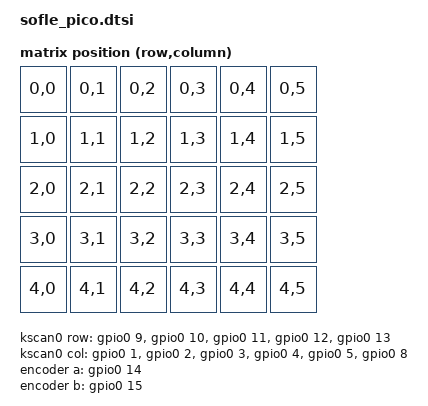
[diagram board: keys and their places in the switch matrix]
#include <dt-bindings/zmk/matrix_transform.h>
#include <zephyr/dt-bindings/gpio/gpio.h>
#include <physical_layouts.dtsi>

/ {
    chosen {
        zmk,kscan = &kscan0;
        zmk,matrix_transform = &default_transform;
        zmk,physical-layout = &physical_layout0;
    };

    default_transform: keymap_transform_0 {
        compatible = "zmk,matrix-transform";
        columns = <6>;
        rows = <5>;
        map = <
            RC(0,0) RC(0,1) RC(0,2) RC(0,3) RC(0,4) RC(0,5)
            RC(1,0) RC(1,1) RC(1,2) RC(1,3) RC(1,4) RC(1,5)
            RC(2,0) RC(2,1) RC(2,2) RC(2,3) RC(2,4) RC(2,5)
            RC(3,0) RC(3,1) RC(3,2) RC(3,3) RC(3,4) RC(3,5)
            RC(4,0) RC(4,1) RC(4,2) RC(4,3) RC(4,4) RC(4,5)
        >;
    };

    physical_layout0: physical_layout_0 {
        compatible = "zmk,physical-layout";
        display-name = "Default";
        transform = <&default_transform>;
        kscan = <&kscan0>;
    };

    kscan0: kscan {
        compatible = "zmk,kscan-gpio-matrix";
        diode-direction = "col2row";

        col-gpios
            = <&gpio0 1 GPIO_ACTIVE_HIGH>
            , <&gpio0 2 GPIO_ACTIVE_HIGH>
            , <&gpio0 3 GPIO_ACTIVE_HIGH>
            , <&gpio0 4 GPIO_ACTIVE_HIGH>
            , <&gpio0 5 GPIO_ACTIVE_HIGH>
            , <&gpio0 8 GPIO_ACTIVE_HIGH>
            ;

        row-gpios
            = <&gpio0 9  (GPIO_ACTIVE_HIGH | GPIO_PULL_DOWN)>
            , <&gpio0 10 (GPIO_ACTIVE_HIGH | GPIO_PULL_DOWN)>
            , <&gpio0 11 (GPIO_ACTIVE_HIGH | GPIO_PULL_DOWN)>
            , <&gpio0 12 (GPIO_ACTIVE_HIGH | GPIO_PULL_DOWN)>
            , <&gpio0 13 (GPIO_ACTIVE_HIGH | GPIO_PULL_DOWN)>
            ;
    };

    encoder: encoder {
        compatible = "alps,ec11";
        a-gpios = <&gpio0 14 (GPIO_ACTIVE_HIGH | GPIO_PULL_UP)>;
        b-gpios = <&gpio0 15 (GPIO_ACTIVE_HIGH | GPIO_PULL_UP)>;
        steps = <80>;
        status = "disabled";
    };

    sensors: sensors {
        compatible = "zmk,keymap-sensors";
        sensors = <&encoder>;
        triggers-per-rotation = <20>;
    };
};
